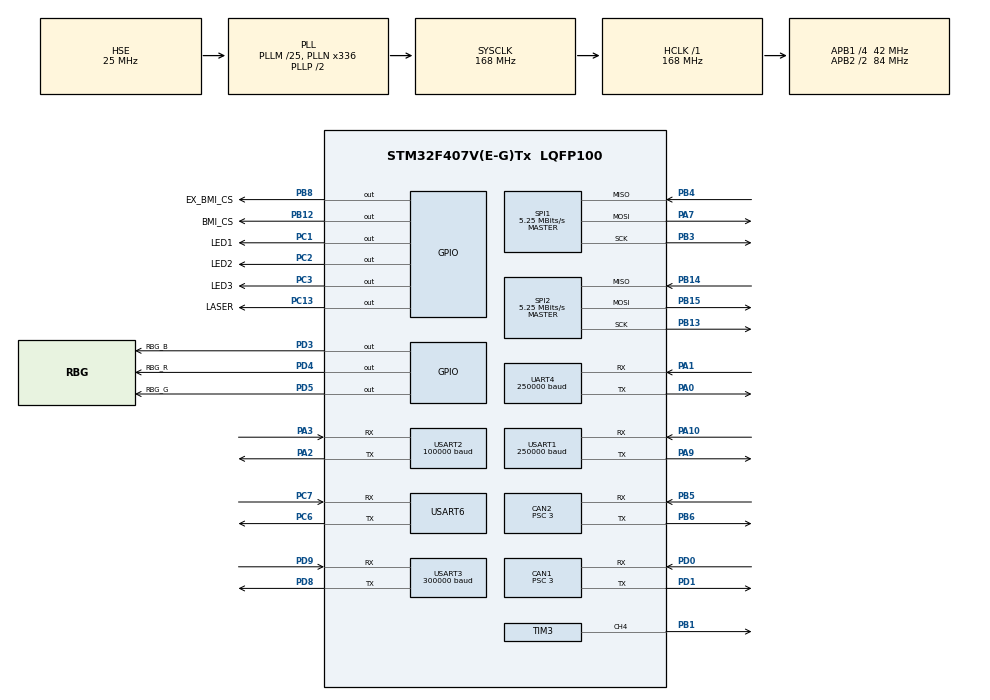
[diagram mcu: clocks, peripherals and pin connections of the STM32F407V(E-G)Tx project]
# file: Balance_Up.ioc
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CAN1.ABOM=ENABLE
CAN1.AWUM=ENABLE
CAN1.BS1=CAN_BS1_9TQ
CAN1.BS2=CAN_BS2_4TQ
CAN1.CalculateBaudRate=1000000
CAN1.CalculateTimeBit=1000
CAN1.CalculateTimeQuantum=71.42857142857143
CAN1.Prescaler=3
CAN1.TTCM=DISABLE
CAN1.TXFP=ENABLE
CAN2.ABOM=ENABLE
CAN2.AWUM=ENABLE
CAN2.BS1=CAN_BS1_9TQ
CAN2.BS2=CAN_BS2_4TQ
CAN2.CalculateBaudRate=1000000
CAN2.CalculateTimeBit=1000
CAN2.CalculateTimeQuantum=71.42857142857143
CAN2.Prescaler=3
CAN2.TXFP=ENABLE
Dma.Request0=USART1_RX
Dma.Request1=USART1_TX
Dma.Request2=USART2_RX
Dma.Request3=USART3_RX
Dma.Request4=USART3_TX
Dma.Request5=USART6_RX
Dma.Request6=USART6_TX
Dma.Request7=UART4_RX
Dma.Request8=UART4_TX
Dma.UART4_RX.7.Direction=DMA_PERIPH_TO_MEMORY
Dma.UART4_RX.7.FIFOMode=DMA_FIFOMODE_DISABLE
Dma.UART4_RX.7.Instance=DMA1_Stream2
Dma.UART4_RX.7.MemDataAlignment=DMA_MDATAALIGN_BYTE
Dma.UART4_RX.7.MemInc=DMA_MINC_ENABLE
Dma.UART4_RX.7.Mode=DMA_CIRCULAR
Dma.UART4_RX.7.PeriphDataAlignment=DMA_PDATAALIGN_BYTE
Dma.UART4_RX.7.PeriphInc=DMA_PINC_DISABLE
Dma.UART4_RX.7.Priority=DMA_PRIORITY_LOW
Dma.UART4_TX.8.Direction=DMA_MEMORY_TO_PERIPH
Dma.UART4_TX.8.FIFOMode=DMA_FIFOMODE_DISABLE
Dma.UART4_TX.8.Instance=DMA1_Stream4
Dma.UART4_TX.8.MemDataAlignment=DMA_MDATAALIGN_BYTE
Dma.UART4_TX.8.MemInc=DMA_MINC_ENABLE
Dma.UART4_TX.8.Mode=DMA_NORMAL
Dma.UART4_TX.8.PeriphDataAlignment=DMA_PDATAALIGN_BYTE
Dma.UART4_TX.8.PeriphInc=DMA_PINC_DISABLE
Dma.UART4_TX.8.Priority=DMA_PRIORITY_LOW
Dma.USART1_RX.0.Direction=DMA_PERIPH_TO_MEMORY
Dma.USART1_RX.0.FIFOMode=DMA_FIFOMODE_DISABLE
Dma.USART1_RX.0.Instance=DMA2_Stream2
Dma.USART1_RX.0.MemDataAlignment=DMA_MDATAALIGN_BYTE
Dma.USART1_RX.0.MemInc=DMA_MINC_ENABLE
Dma.USART1_RX.0.Mode=DMA_CIRCULAR
Dma.USART1_RX.0.PeriphDataAlignment=DMA_PDATAALIGN_BYTE
Dma.USART1_RX.0.PeriphInc=DMA_PINC_DISABLE
Dma.USART1_RX.0.Priority=DMA_PRIORITY_LOW
Dma.USART1_TX.1.Direction=DMA_MEMORY_TO_PERIPH
Dma.USART1_TX.1.FIFOMode=DMA_FIFOMODE_DISABLE
Dma.USART1_TX.1.Instance=DMA2_Stream7
Dma.USART1_TX.1.MemDataAlignment=DMA_MDATAALIGN_BYTE
Dma.USART1_TX.1.MemInc=DMA_MINC_ENABLE
Dma.USART1_TX.1.Mode=DMA_NORMAL
Dma.USART1_TX.1.PeriphDataAlignment=DMA_PDATAALIGN_BYTE
Dma.USART1_TX.1.PeriphInc=DMA_PINC_DISABLE
Dma.USART1_TX.1.Priority=DMA_PRIORITY_LOW
Dma.USART2_RX.2.Direction=DMA_PERIPH_TO_MEMORY
Dma.USART2_RX.2.FIFOMode=DMA_FIFOMODE_DISABLE
Dma.USART2_RX.2.Instance=DMA1_Stream5
Dma.USART2_RX.2.MemDataAlignment=DMA_MDATAALIGN_BYTE
Dma.USART2_RX.2.MemInc=DMA_MINC_ENABLE
Dma.USART2_RX.2.Mode=DMA_CIRCULAR
Dma.USART2_RX.2.PeriphDataAlignment=DMA_PDATAALIGN_BYTE
Dma.USART2_RX.2.PeriphInc=DMA_PINC_DISABLE
Dma.USART2_RX.2.Priority=DMA_PRIORITY_LOW
Dma.USART3_RX.3.Direction=DMA_PERIPH_TO_MEMORY
Dma.USART3_RX.3.FIFOMode=DMA_FIFOMODE_DISABLE
Dma.USART3_RX.3.Instance=DMA1_Stream1
Dma.USART3_RX.3.MemDataAlignment=DMA_MDATAALIGN_BYTE
Dma.USART3_RX.3.MemInc=DMA_MINC_ENABLE
Dma.USART3_RX.3.Mode=DMA_CIRCULAR
Dma.USART3_RX.3.PeriphDataAlignment=DMA_PDATAALIGN_BYTE
Dma.USART3_RX.3.PeriphInc=DMA_PINC_DISABLE
Dma.USART3_RX.3.Priority=DMA_PRIORITY_LOW
Dma.USART3_TX.4.Direction=DMA_MEMORY_TO_PERIPH
Dma.USART3_TX.4.FIFOMode=DMA_FIFOMODE_DISABLE
Dma.USART3_TX.4.Instance=DMA1_Stream3
Dma.USART3_TX.4.MemDataAlignment=DMA_MDATAALIGN_BYTE
Dma.USART3_TX.4.MemInc=DMA_MINC_ENABLE
Dma.USART3_TX.4.Mode=DMA_NORMAL
Dma.USART3_TX.4.PeriphDataAlignment=DMA_PDATAALIGN_BYTE
Dma.USART3_TX.4.PeriphInc=DMA_PINC_DISABLE
Dma.USART3_TX.4.Priority=DMA_PRIORITY_LOW
Dma.USART6_RX.5.Direction=DMA_PERIPH_TO_MEMORY
Dma.USART6_RX.5.FIFOMode=DMA_FIFOMODE_DISABLE
Dma.USART6_RX.5.Instance=DMA2_Stream1
Dma.USART6_RX.5.MemDataAlignment=DMA_MDATAALIGN_BYTE
Dma.USART6_RX.5.MemInc=DMA_MINC_ENABLE
Dma.USART6_RX.5.Mode=DMA_CIRCULAR
Dma.USART6_RX.5.PeriphDataAlignment=DMA_PDATAALIGN_BYTE
Dma.USART6_RX.5.PeriphInc=DMA_PINC_DISABLE
Dma.USART6_RX.5.Priority=DMA_PRIORITY_LOW
Dma.USART6_TX.6.Direction=DMA_MEMORY_TO_PERIPH
Dma.USART6_TX.6.FIFOMode=DMA_FIFOMODE_DISABLE
Dma.USART6_TX.6.Instance=DMA2_Stream6
Dma.USART6_TX.6.MemDataAlignment=DMA_MDATAALIGN_BYTE
Dma.USART6_TX.6.MemInc=DMA_MINC_ENABLE
Dma.USART6_TX.6.Mode=DMA_NORMAL
Dma.USART6_TX.6.PeriphDataAlignment=DMA_PDATAALIGN_BYTE
Dma.USART6_TX.6.PeriphInc=DMA_PINC_DISABLE
Dma.USART6_TX.6.Priority=DMA_PRIORITY_LOW
FREERTOS.Tasks01=defaultTask,0,128,StartDefaultTask,Default,NULL,Dynamic,NULL,NULL;heartbeatTask,1,128,StartHeartBeatTask,As weak,NULL,Dynamic,NULL,NULL;controlTask,2,256,StartControlTask,As weak,NULL,Dynamic,NULL,NULL;ledTask,0,128,StartLedTask,As weak,NULL,Dynamic,NULL,NULL
Mcu.Family=STM32F4
Mcu.Name=STM32F407V(E-G)Tx
Mcu.Package=LQFP100
NVIC.CAN1_RX0_IRQn=true\:5\:0\:false\:false\:true\:true\:true\:true\:true
NVIC.CAN2_RX0_IRQn=true\:5\:0\:false\:false\:true\:true\:true\:true\:true
NVIC.DMA1_Stream1_IRQn=true\:5\:0\:false\:false\:true\:true\:false\:true\:true
NVIC.DMA1_Stream2_IRQn=true\:5\:0\:false\:false\:true\:true\:false\:true\:true
NVIC.DMA1_Stream3_IRQn=true\:5\:0\:false\:false\:true\:true\:false\:true\:true
NVIC.DMA1_Stream4_IRQn=true\:5\:0\:false\:false\:true\:true\:false\:true\:true
NVIC.DMA1_Stream5_IRQn=true\:5\:0\:false\:false\:true\:true\:false\:true\:true
NVIC.DMA2_Stream1_IRQn=true\:5\:0\:false\:false\:true\:true\:false\:true\:true
NVIC.DMA2_Stream2_IRQn=true\:5\:0\:false\:false\:true\:true\:false\:true\:true
NVIC.DMA2_Stream6_IRQn=true\:5\:0\:false\:false\:true\:true\:false\:true\:true
NVIC.DMA2_Stream7_IRQn=true\:5\:0\:false\:false\:true\:true\:false\:true\:true
NVIC.PriorityGroup=NVIC_PRIORITYGROUP_4
NVIC.SPI2_IRQn=true\:5\:0\:false\:false\:true\:true\:true\:true\:true
NVIC.TIM2_IRQn=true\:15\:0\:false\:false\:true\:false\:false\:true\:true
NVIC.TIM4_IRQn=true\:5\:0\:false\:false\:true\:true\:true\:true\:true
NVIC.TimeBase=TIM2_IRQn
NVIC.TimeBaseIP=TIM2
NVIC.UART4_IRQn=true\:5\:0\:false\:false\:true\:true\:true\:true\:true
NVIC.USART1_IRQn=true\:5\:0\:false\:false\:true\:true\:true\:true\:true
NVIC.USART2_IRQn=true\:5\:0\:false\:false\:true\:true\:true\:true\:true
NVIC.USART3_IRQn=true\:5\:0\:false\:false\:true\:true\:true\:true\:true
NVIC.USART6_IRQn=true\:5\:0\:false\:false\:true\:true\:true\:true\:true
PA0-WKUP.Mode=Asynchronous
PA0-WKUP.Signal=UART4_TX
PA1.Mode=Asynchronous
PA1.Signal=UART4_RX
PA10.Mode=Asynchronous
PA10.Signal=USART1_RX
PA13.Mode=Serial_Wire
PA13.Signal=SYS_JTMS-SWDIO
PA14.Mode=Serial_Wire
PA14.Signal=SYS_JTCK-SWCLK
PA2.Mode=Asynchronous
PA2.Signal=USART2_TX
PA3.Mode=Asynchronous
PA3.Signal=USART2_RX
PA7.Mode=Full_Duplex_Master
PA7.Signal=SPI1_MOSI
PA9.Mode=Asynchronous
PA9.Signal=USART1_TX
PB1.Signal=S_TIM3_CH4
PB12.GPIO_Label=BMI_CS
PB12.GPIO_PuPd=GPIO_NOPULL
PB12.GPIO_Speed=GPIO_SPEED_FREQ_HIGH
PB12.PinState=GPIO_PIN_RESET
PB12.Signal=GPIO_Output
PB13.Mode=Full_Duplex_Master
PB13.Signal=SPI2_SCK
PB14.Mode=Full_Duplex_Master
PB14.Signal=SPI2_MISO
PB15.Mode=Full_Duplex_Master
PB15.Signal=SPI2_MOSI
PB3.Mode=Full_Duplex_Master
PB3.Signal=SPI1_SCK
PB4.Mode=Full_Duplex_Master
PB4.Signal=SPI1_MISO
PB5.Mode=CAN_Activate
PB5.Signal=CAN2_RX
PB6.Mode=CAN_Activate
PB6.Signal=CAN2_TX
PB8.GPIO_Label=EX_BMI_CS
PB8.GPIO_Speed=GPIO_SPEED_FREQ_HIGH
PB8.Signal=GPIO_Output
PC1.GPIO_Label=LED1
PC1.PinState=GPIO_PIN_SET
PC1.Signal=GPIO_Output
PC13-ANTI_TAMP.GPIO_Label=LASER
PC13-ANTI_TAMP.PinState=GPIO_PIN_SET
PC13-ANTI_TAMP.Signal=GPIO_Output
PC2.GPIO_Label=LED2
PC2.PinState=GPIO_PIN_SET
PC2.Signal=GPIO_Output
PC3.GPIO_Label=LED3
PC3.PinState=GPIO_PIN_SET
PC3.Signal=GPIO_Output
PC6.Mode=Asynchronous
PC6.Signal=USART6_TX
PC7.Mode=Asynchronous
PC7.Signal=USART6_RX
PD0.Mode=CAN_Activate
PD0.Signal=CAN1_RX
PD1.Mode=CAN_Activate
PD1.Signal=CAN1_TX
PD3.GPIO_Label=RBG_B
PD3.Signal=GPIO_Output
PD4.GPIO_Label=RBG_R
PD4.Signal=GPIO_Output
PD5.GPIO_Label=RBG_G
PD5.Signal=GPIO_Output
PD8.Mode=Asynchronous
PD8.Signal=USART3_TX
PD9.Mode=Asynchronous
PD9.Signal=USART3_RX
PH0-OSC_IN.Mode=HSE-External-Oscillator
PH0-OSC_IN.Signal=RCC_OSC_IN
PH1-OSC_OUT.Mode=HSE-External-Oscillator
PH1-OSC_OUT.Signal=RCC_OSC_OUT
ProjectManager.HeapSize=0x200
ProjectManager.StackSize=0x400
ProjectManager.TargetToolchain=MDK-ARM V5.32
RCC.48MHZClocksFreq_Value=84000000
RCC.AHBFreq_Value=168000000
RCC.APB1CLKDivider=RCC_HCLK_DIV4
RCC.APB1Freq_Value=42000000
RCC.APB1TimFreq_Value=84000000
RCC.APB2CLKDivider=RCC_HCLK_DIV2
RCC.APB2Freq_Value=84000000
RCC.APB2TimFreq_Value=168000000
RCC.CortexFreq_Value=168000000
RCC.HCLKFreq_Value=168000000
RCC.HSE_VALUE=25000000
RCC.HSI_VALUE=16000000
RCC.LSE_VALUE=32768
RCC.PLLM=25
RCC.PLLN=336
RCC.PLLSourceVirtual=RCC_PLLSOURCE_HSE
RCC.SYSCLKFreq_VALUE=168000000
RCC.SYSCLKSource=RCC_SYSCLKSOURCE_PLLCLK
RCC.VCOOutputFreq_Value=336000000
SH.S_TIM3_CH4.0=TIM3_CH4,PWM Generation4 CH4
SPI1.BaudRatePrescaler=SPI_BAUDRATEPRESCALER_16
SPI1.CalculateBaudRate=5.25 MBits/s
SPI1.Direction=SPI_DIRECTION_2LINES
SPI1.Mode=SPI_MODE_MASTER
SPI1.VirtualType=VM_MASTER
SPI2.BaudRatePrescaler=SPI_BAUDRATEPRESCALER_8
SPI2.CalculateBaudRate=5.25 MBits/s
SPI2.Direction=SPI_DIRECTION_2LINES
SPI2.Mode=SPI_MODE_MASTER
SPI2.VirtualType=VM_MASTER
TIM3.AutoReloadPreload=TIM_AUTORELOAD_PRELOAD_ENABLE
TIM3.Channel-PWM\ Generation4\ CH4=TIM_CHANNEL_4
TIM3.Period=999
TIM3.Prescaler=839
TIM4.Period=499
TIM4.Prescaler=83
UART4.BaudRate=250000
UART4.VirtualMode=Asynchronous
USART1.BaudRate=250000
USART1.VirtualMode=VM_ASYNC
USART2.BaudRate=100000
USART2.Mode=MODE_RX
USART2.Parity=PARITY_EVEN
USART2.VirtualMode=VM_ASYNC
USART3.BaudRate=300000
USART3.VirtualMode=VM_ASYNC
USART6.VirtualMode=VM_ASYNC
VP_FREERTOS_VS_CMSIS_V1.Mode=CMSIS_V1
VP_IWDG_VS_IWDG.Mode=IWDG_Activate
VP_SYS_VS_tim2.Mode=TIM2
VP_TIM3_VS_ClockSourceINT.Mode=Internal
VP_TIM4_VS_ClockSourceINT.Mode=Internal
board=custom

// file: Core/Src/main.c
/* USER CODE BEGIN Header */
/**
  ******************************************************************************
  * @file           : main.c
  * @brief          : Main program body
  ******************************************************************************
  * @attention
  *
  * Copyright (c) 2022 STMicroelectronics.
  * All rights reserved.
  *
  * This software is licensed under terms that can be found in the LICENSE file
  * in the root directory of this software component.
  * If no LICENSE file comes with this software, it is provided AS-IS.
  *
  ******************************************************************************
  */
/* USER CODE END Header */
#include "main.h"
#include "cmsis_os.h"
#include "can.h"
#include "dma.h"
#include "iwdg.h"
#include "spi.h"
#include "tim.h"
#include "usart.h"
#include "gpio.h"

/* USER CODE BEGIN Includes */
#include "driver.h"
#include "device.h"
/* USER CODE END Includes */

void SystemClock_Config(void);
void MX_FREERTOS_Init(void);

int main(void)
{

  /* MCU Configuration--------------------------------------------------------*/

  /* Reset of all peripherals, Initializes the Flash interface and the Systick. */
  HAL_Init();

  /* Configure the system clock */
  SystemClock_Config();

  /* Initialize all configured peripherals */
  MX_GPIO_Init();
  MX_DMA_Init();
  MX_CAN1_Init();
  MX_CAN2_Init();
  MX_USART1_UART_Init();
  MX_USART2_UART_Init();
  MX_USART3_UART_Init();
  MX_SPI2_Init();
  MX_TIM4_Init();
  MX_SPI1_Init();
  MX_USART6_UART_Init();
  MX_TIM3_Init();
  MX_UART4_Init();
  /* USER CODE BEGIN 2 */

	SPI1_Init();
	SPI2_Init();

	HAL_GPIO_WritePin(GPIOD, RBG_G_Pin, GPIO_PIN_SET);
	HAL_GPIO_WritePin(GPIOD, RBG_B_Pin, GPIO_PIN_SET);
	HAL_GPIO_WritePin(GPIOD, RBG_R_Pin, GPIO_PIN_RESET);

	imu_sensor.init(&imu_sensor);
	HAL_Delay(10);

	HAL_GPIO_WritePin(GPIOD, RBG_G_Pin, GPIO_PIN_RESET);
	HAL_GPIO_WritePin(GPIOD, RBG_B_Pin, GPIO_PIN_SET);
	HAL_GPIO_WritePin(GPIOD, RBG_R_Pin, GPIO_PIN_SET);

#if defined	(DEBUG_MODE) && (DEBUG_MODE == 0)
  MX_IWDG_Init();
#endif

	DEVICE_Init();
	DRIVER_Init();

  /* USER CODE END 2 */

  /* Call init function for freertos objects (in freertos.c) */
  MX_FREERTOS_Init();

  /* Start scheduler */
  osKernelStart();
  /* We should never get here as control is now taken by the scheduler */
  /* Infinite loop */
  while (1)
  {

  }
}

void SystemClock_Config(void)
{
  RCC_OscInitTypeDef RCC_OscInitStruct = {0};
  RCC_ClkInitTypeDef RCC_ClkInitStruct = {0};

  /** Configure the main internal regulator output voltage
  */
  __HAL_RCC_PWR_CLK_ENABLE();
  __HAL_PWR_VOLTAGESCALING_CONFIG(PWR_REGULATOR_VOLTAGE_SCALE1);

  /** Initializes the RCC Oscillators according to the specified parameters
  * in the RCC_OscInitTypeDef structure.
  */
  RCC_OscInitStruct.OscillatorType = RCC_OSCILLATORTYPE_LSI|RCC_OSCILLATORTYPE_HSE;
  RCC_OscInitStruct.HSEState = RCC_HSE_ON;
  RCC_OscInitStruct.LSIState = RCC_LSI_ON;
  RCC_OscInitStruct.PLL.PLLState = RCC_PLL_ON;
  RCC_OscInitStruct.PLL.PLLSource = RCC_PLLSOURCE_HSE;
  RCC_OscInitStruct.PLL.PLLM = 25;
  RCC_OscInitStruct.PLL.PLLN = 336;
  RCC_OscInitStruct.PLL.PLLP = RCC_PLLP_DIV2;
  RCC_OscInitStruct.PLL.PLLQ = 4;
  if (HAL_RCC_OscConfig(&RCC_OscInitStruct) != HAL_OK)
  {
    Error_Handler();
  }

  /** Initializes the CPU, AHB and APB buses clocks
  */
  RCC_ClkInitStruct.ClockType = RCC_CLOCKTYPE_HCLK|RCC_CLOCKTYPE_SYSCLK
                              |RCC_CLOCKTYPE_PCLK1|RCC_CLOCKTYPE_PCLK2;
  RCC_ClkInitStruct.SYSCLKSource = RCC_SYSCLKSOURCE_PLLCLK;
  RCC_ClkInitStruct.AHBCLKDivider = RCC_SYSCLK_DIV1;
  RCC_ClkInitStruct.APB1CLKDivider = RCC_HCLK_DIV4;
  RCC_ClkInitStruct.APB2CLKDivider = RCC_HCLK_DIV2;

  if (HAL_RCC_ClockConfig(&RCC_ClkInitStruct, FLASH_LATENCY_5) != HAL_OK)
  {
    Error_Handler();
  }
}

void HAL_TIM_PeriodElapsedCallback(TIM_HandleTypeDef *htim)
{
  /* USER CODE BEGIN Callback 0 */
	static uint16_t i = 0;
	if (htim->Instance == TIM4)
	{
		//500us
		if (i++ == 60000)
		{
			i = 0;
		}

		if ((imu_sensor.work_state.err_code == IMU_NONE_ERR) || \
				(imu_sensor.work_state.err_code == IMU_DATA_CALI))
		{
			imu_sensor.update(&imu_sensor);
		}

	}

  /* USER CODE END Callback 0 */
  if (htim->Instance == TIM2) {
    HAL_IncTick();
  }
}

void Error_Handler(void)
{
  __disable_irq();
  while (1)
  {
  }
}

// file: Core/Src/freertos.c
/* USER CODE BEGIN Header */
/**
  ******************************************************************************
  * File Name          : freertos.c
  * Description        : Code for freertos applications
  ******************************************************************************
  * @attention
  *
  * Copyright (c) 2022 STMicroelectronics.
  * All rights reserved.
  *
  * This software is licensed under terms that can be found in the LICENSE file
  * in the root directory of this software component.
  * If no LICENSE file comes with this software, it is provided AS-IS.
  *
  ******************************************************************************
  */
/* USER CODE END Header */

#include "FreeRTOS.h"
#include "task.h"
#include "main.h"
#include "cmsis_os.h"

osThreadId defaultTaskHandle;
osThreadId heartbeatTaskHandle;
osThreadId controlTaskHandle;
osThreadId ledTaskHandle;

void StartDefaultTask(void const * argument);
void StartHeartBeatTask(void const * argument);
void StartControlTask(void const * argument);
void StartLedTask(void const * argument);

void MX_FREERTOS_Init(void); /* (MISRA C 2004 rule 8.1) */

/* GetIdleTaskMemory prototype (linked to static allocation support) */
void vApplicationGetIdleTaskMemory( StaticTask_t **ppxIdleTaskTCBBuffer, StackType_t **ppxIdleTaskStackBuffer, uint32_t *pulIdleTaskStackSize );

/* USER CODE BEGIN GET_IDLE_TASK_MEMORY */
static StaticTask_t xIdleTaskTCBBuffer;
static StackType_t xIdleStack[configMINIMAL_STACK_SIZE];

void vApplicationGetIdleTaskMemory( StaticTask_t **ppxIdleTaskTCBBuffer, StackType_t **ppxIdleTaskStackBuffer, uint32_t *pulIdleTaskStackSize )
{
  *ppxIdleTaskTCBBuffer = &xIdleTaskTCBBuffer;
  *ppxIdleTaskStackBuffer = &xIdleStack[0];
  *pulIdleTaskStackSize = configMINIMAL_STACK_SIZE;
  /* place for user code */
}
/* USER CODE END GET_IDLE_TASK_MEMORY */

void MX_FREERTOS_Init(void) {

  /* Create the thread(s) */
  /* definition and creation of defaultTask */
  osThreadDef(defaultTask, StartDefaultTask, osPriorityNormal, 0, 128);
  defaultTaskHandle = osThreadCreate(osThread(defaultTask), NULL);

  /* definition and creation of heartbeatTask */
  osThreadDef(heartbeatTask, StartHeartBeatTask, osPriorityAboveNormal, 0, 128);
  heartbeatTaskHandle = osThreadCreate(osThread(heartbeatTask), NULL);

  /* definition and creation of controlTask */
  osThreadDef(controlTask, StartControlTask, osPriorityHigh, 0, 256);
  controlTaskHandle = osThreadCreate(osThread(controlTask), NULL);

  /* definition and creation of ledTask */
  osThreadDef(ledTask, StartLedTask, osPriorityNormal, 0, 128);
  ledTaskHandle = osThreadCreate(osThread(ledTask), NULL);

}

void StartDefaultTask(void const * argument)
{
  for(;;)
  {
    osDelay(1);
  }
}

__weak void StartHeartBeatTask(void const * argument)
{
  for(;;)
  {
    osDelay(1);
  }
}

__weak void StartControlTask(void const * argument)
{
  for(;;)
  {
    osDelay(1);
  }
}

__weak void StartLedTask(void const * argument)
{
  for(;;)
  {
    osDelay(1);
  }
}
